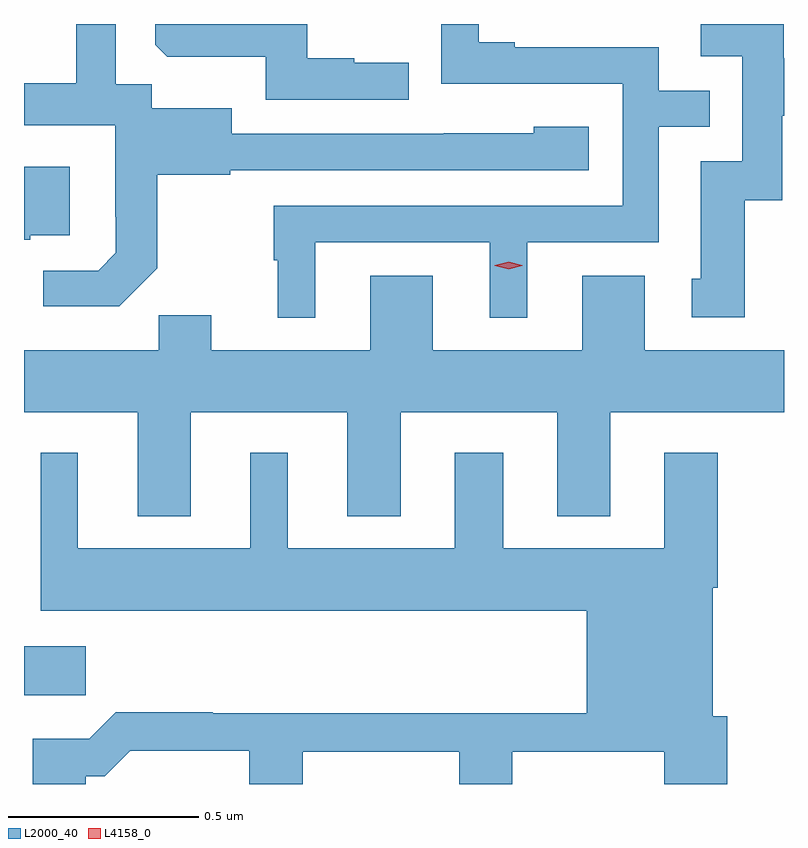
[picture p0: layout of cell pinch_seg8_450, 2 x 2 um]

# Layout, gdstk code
import gdstk
lib = gdstk.Library(unit=1e-6, precision=1e-09)
def R(c, l, rs):  # rectangles x0, y0, x1, y1
    for r in rs: c.add(gdstk.rectangle(r[:2], r[2:], *l))
def P(c, l, *ps):  # polygons
    for p in ps: c.add(gdstk.Polygon(p, *l))
L2000_40 = (2000, 40)
L4158_0 = (4158, 0)

pinch_seg8_450 = lib.new_cell('pinch_seg8_450')
R(pinch_seg8_450, L2000_40, [(329.91,1134.403,330.073,1134.532)])
P(pinch_seg8_450, L2000_40, [(330.676,1135.596),(331.136,1135.596),(331.136,1135.397),(331.234,1135.397),(331.234,1135.596),(331.581,1135.596),(331.581,1135.899),(331.715,1135.899),(331.715,1135.995),(331.581,1135.995),(331.581,1136.109),(331.201,1136.109),(331.201,1136.122),(331.107,1136.122),(331.107,1136.17),(331.008,1136.17),(331.008,1136.013),(331.485,1136.013),(331.485,1135.692),(330.567,1135.692),(330.567,1135.548),(330.578,1135.548),(330.578,1135.397),(330.676,1135.397)],
  [(330.261,1135.527),(330.261,1135.773),(330.453,1135.773),(330.453,1135.785),(331.396,1135.785),(331.396,1135.9),(331.251,1135.9),(331.251,1135.882),(331.015,1135.882),(331.015,1135.881),(330.457,1135.881),(330.457,1135.948),(330.246,1135.948),(330.246,1136.012),(330.151,1136.012),(330.151,1136.17),(330.047,1136.17),(330.047,1136.014),(329.91,1136.014),(329.91,1135.904),(330.15,1135.904),(330.15,1135.663),(330.152,1135.663),(330.152,1135.568),(330.105,1135.521),(329.961,1135.521),(329.961,1135.427),(330.161,1135.427)],
  [(330.923,1136.068),(330.779,1136.068),(330.779,1136.08),(330.656,1136.08),(330.656,1136.17),(330.255,1136.17),(330.255,1136.115),(330.287,1136.084),(330.546,1136.084),(330.546,1135.971),(330.923,1135.971)],
  [(331.807,1135.706),(331.905,1135.706),(331.905,1135.928),(331.91,1135.928),(331.91,1136.08),(331.909,1136.08),(331.909,1136.17),(331.691,1136.17),(331.691,1136.085),(331.8,1136.085),(331.8,1135.809),(331.691,1135.809),(331.691,1135.5),(331.667,1135.5),(331.667,1135.398),(331.807,1135.398)],
  [(329.927,1135.614),(330.031,1135.614),(330.031,1135.795),(329.91,1135.795),(329.91,1135.602),(329.927,1135.602)],
  [(330.761,1134.875),(330.901,1134.875),(330.901,1135.148),(331.313,1135.148),(331.313,1134.875),(331.453,1134.875),(331.453,1135.148),(331.91,1135.148),(331.91,1135.312),(331.543,1135.312),(331.543,1135.507),(331.379,1135.507),(331.379,1135.312),(330.985,1135.312),(330.985,1135.507),(330.821,1135.507),(330.821,1135.312),(330.403,1135.312),(330.403,1135.403),(330.265,1135.403),(330.265,1135.312),(329.91,1135.312),(329.91,1135.148),(330.209,1135.148),(330.209,1134.875),(330.349,1134.875),(330.349,1135.148),(330.761,1135.148)],
  [(330.073,1134.191),(330.122,1134.191),(330.189,1134.258),(330.503,1134.258),(330.503,1134.17),(330.643,1134.17),(330.643,1134.255),(331.055,1134.255),(331.055,1134.17),(331.195,1134.17),(331.195,1134.255),(331.595,1134.255),(331.595,1134.17),(331.76,1134.17),(331.76,1134.348),(331.723,1134.348),(331.723,1134.686),(331.736,1134.686),(331.736,1135.042),(331.595,1135.042),(331.595,1134.79),(331.171,1134.79),(331.171,1135.042),(331.043,1135.042),(331.043,1134.79),(330.604,1134.79),(330.604,1135.042),(330.506,1135.042),(330.506,1134.79),(330.052,1134.79),(330.052,1135.042),(329.954,1135.042),(329.954,1134.626),(331.391,1134.626),(331.391,1134.356),(330.407,1134.356),(330.407,1134.359),(330.152,1134.359),(330.082,1134.289),(329.933,1134.289),(329.933,1134.17),(330.073,1134.17)])
P(pinch_seg8_450, L4158_0, [(331.185,1135.525),(331.149,1135.534),(331.149,1135.535),(331.149,1135.535),(331.185,1135.545),(331.221,1135.535),(331.221,1135.535),(331.221,1135.534)])

lib.write_gds('pinch_seg8_450.gds')
